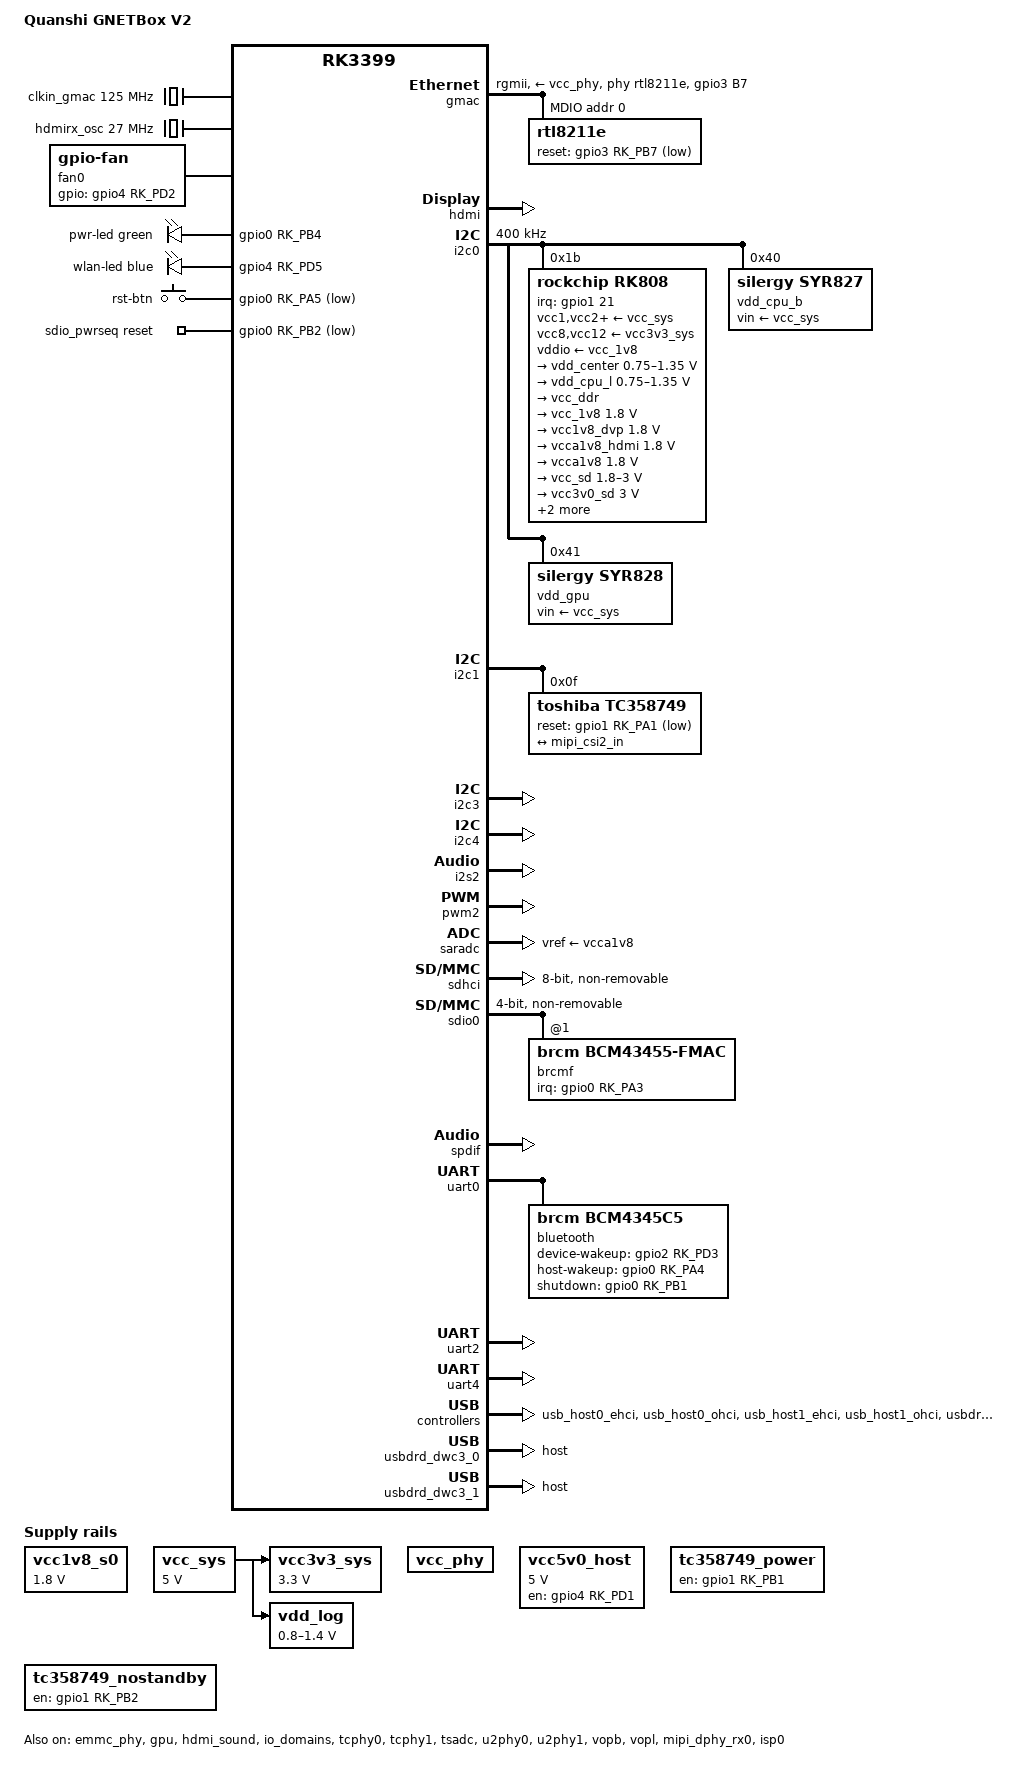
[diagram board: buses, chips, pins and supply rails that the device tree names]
// SPDX-License-Identifier: (GPL-2.0+ OR MIT)
/*
 * Copyright (c) 2017 Fuzhou Rockchip Electronics Co., Ltd.
 * Copyright (c) 2025 retro98boy <retro98boy@qq.com>
 */

/dts-v1/;

#include <dt-bindings/input/linux-event-codes.h>
#include <dt-bindings/pwm/pwm.h>
#include <dt-bindings/leds/common.h>
#include "rk3399.dtsi"

/ {
	model = "Quanshi GNETBox V2";
	compatible = "quanshi,gnetbox-v2", "rockchip,rk3399";

	aliases {
		ethernet0 = &gmac;
		mmc0 = &sdhci;
		mmc2 = &sdio0;
		rtc0 = &rk808;
	};

	chosen {
		stdout-path = "serial2:1500000n8";
	};

	clkin_gmac: external-gmac-clock {
		compatible = "fixed-clock";
		clock-frequency = <125000000>;
		clock-output-names = "clkin_gmac";
		#clock-cells = <0>;
	};

	hdmirx_osc: hdmirx-osc {
		compatible = "fixed-clock";
		clock-frequency = <27000000>;
		clock-output-names = "hdmirx-osc";
		#clock-cells = <0>;
	};

	fan0: gpio-fan {
		compatible = "gpio-fan";
		gpio-fan,speed-map = <0 0 3000 1>;
		gpios = <&gpio4 RK_PD2 GPIO_ACTIVE_HIGH>;
		#cooling-cells = <2>;
		pinctrl-names = "default";
		pinctrl-0 = <&gpio_fan_en>;
	};

	gpio-leds {
		compatible = "gpio-leds";
		pinctrl-names = "default";
		pinctrl-0 = <&pwr_led &wlan_led>;

		/*
		 * The power LED on the device is always on, defaulting to red.
		 * Pulling gpio0 RK_PB4 high changes it to green, indicating that the kernel has started.
		 */
		pwr-led {
			function = LED_FUNCTION_POWER;
			color = <LED_COLOR_ID_GREEN>;
			gpios = <&gpio0 RK_PB4 GPIO_ACTIVE_HIGH>;
			default-state = "on";
		};

		/*
		 * modprobe ledtrig-netdev
		 * echo netdev > /sys/class/leds/blue\:wlan/trigger
		 * echo wlan0 > /sys/class/leds/blue\:wlan/device_name
		 *
		 * echo 1 > /sys/class/leds/blue\:wlan/link
		 * or
		 * echo 1 > /sys/class/leds/blue\:wlan/rx
		 */
		wlan-led {
			function = LED_FUNCTION_WLAN;
			color = <LED_COLOR_ID_BLUE>;
			gpios = <&gpio4 RK_PD5 GPIO_ACTIVE_HIGH>;
			default-state = "netdev";
		};
	};

	gpio-keys {
		compatible = "gpio-keys";
		autorepeat;
		pinctrl-names = "default";
		pinctrl-0 = <&rst_btn>;

		rst-btn {
			debounce-interval = <100>;
			gpios = <&gpio0 RK_PA5 GPIO_ACTIVE_LOW>;
			label = "rst-btn";
			linux,code = <KEY_RESTART>;
		};
	};

	sdio_pwrseq: sdio-pwrseq {
		compatible = "mmc-pwrseq-simple";
		clocks = <&rk808 1>;
		clock-names = "ext_clock";
		pinctrl-names = "default";
		pinctrl-0 = <&wifi_enable_h>;
		reset-gpios = <&gpio0 RK_PB2 GPIO_ACTIVE_LOW>;
	};

	vcc1v8_s0: regulator-vcc1v8-s0 {
		compatible = "regulator-fixed";
		regulator-name = "vcc1v8_s0";
		regulator-always-on;
		regulator-boot-on;
		regulator-min-microvolt = <1800000>;
		regulator-max-microvolt = <1800000>;
	};

	vcc_sys: regulator-vcc-sys {
		compatible = "regulator-fixed";
		regulator-name = "vcc_sys";
		regulator-always-on;
		regulator-boot-on;
		regulator-min-microvolt = <5000000>;
		regulator-max-microvolt = <5000000>;
	};

	vcc_phy: regulator-vcc-phy {
		compatible = "regulator-fixed";
		regulator-name = "vcc_phy";
	};

	vcc3v3_sys: regulator-vcc3v3-sys {
		compatible = "regulator-fixed";
		regulator-name = "vcc3v3_sys";
		regulator-always-on;
		regulator-boot-on;
		regulator-min-microvolt = <3300000>;
		regulator-max-microvolt = <3300000>;
		vin-supply = <&vcc_sys>;
	};

	vcc5v0_host: regulator-vcc5v0-host {
		compatible = "regulator-fixed";
		enable-active-high;
		gpio = <&gpio4 RK_PD1 GPIO_ACTIVE_HIGH>;
		pinctrl-names = "default";
		pinctrl-0 = <&vcc5v0_host_en>;
		regulator-name = "vcc5v0_host";
		regulator-always-on;
		regulator-boot-on;
		regulator-min-microvolt = <5000000>;
		regulator-max-microvolt = <5000000>;
	};

	regulator-tc358749-power {
		compatible = "regulator-fixed";
		enable-active-high;
		gpio = <&gpio1 RK_PB1 GPIO_ACTIVE_HIGH>;
		pinctrl-names = "default";
		pinctrl-0 = <&tc358749_power_en>;
		regulator-name = "tc358749_power";
		regulator-always-on;
		regulator-boot-on;
	};

	regulator-tc358749-nostandby {
		compatible = "regulator-fixed";
		enable-active-high;
		gpio = <&gpio1 RK_PB2 GPIO_ACTIVE_HIGH>;
		pinctrl-names = "default";
		pinctrl-0 = <&tc358749_nostandby_en>;
		regulator-name = "tc358749_nostandby";
		regulator-always-on;
		regulator-boot-on;
	};

	vdd_log: regulator-vdd-log {
		compatible = "pwm-regulator";
		pwms = <&pwm2 0 25000 1>;
		pwm-supply = <&vcc_sys>;
		regulator-name = "vdd_log";
		regulator-always-on;
		regulator-boot-on;
		regulator-min-microvolt = <800000>;
		regulator-max-microvolt = <1400000>;
	};
};

&cpu_l0 {
	cpu-supply = <&vdd_cpu_l>;
};

&cpu_l1 {
	cpu-supply = <&vdd_cpu_l>;
};

&cpu_l2 {
	cpu-supply = <&vdd_cpu_l>;
};

&cpu_l3 {
	cpu-supply = <&vdd_cpu_l>;
};

&cpu_b0 {
	cpu-supply = <&vdd_cpu_b>;
};

&cpu_b1 {
	cpu-supply = <&vdd_cpu_b>;
};

&cpu_thermal {
	trips {
		cpu_hot: cpu_hot {
			temperature = <55000>;
			hysteresis = <5000>;
			type = "active";
		};
	};

	cooling-maps {
		map2 {
			trip = <&cpu_hot>;
			cooling-device = <&fan0 THERMAL_NO_LIMIT THERMAL_NO_LIMIT>;
		};
	};
};

&emmc_phy {
	status = "okay";
};

&gmac {
	assigned-clock-parents = <&clkin_gmac>;
	assigned-clocks = <&cru SCLK_RMII_SRC>;
	clock_in_out = "input";
	pinctrl-names = "default";
	pinctrl-0 = <&rgmii_pins>, <&phy_rst_l>;
	phy-handle = <&rtl8211e>;
	phy-mode = "rgmii";
	phy-supply = <&vcc_phy>;
	tx_delay = <0x28>;
	rx_delay = <0x11>;
	status = "okay";

	mdio {
		compatible = "snps,dwmac-mdio";
		#address-cells = <1>;
		#size-cells = <0>;

		rtl8211e: rtl8211e@0 {
			reg = <0>;
			reset-assert-us = <10000>;
			reset-deassert-us = <30000>;
			reset-gpios = <&gpio3 RK_PB7 GPIO_ACTIVE_LOW>;
		};
	};
};

&gpu {
	mali-supply = <&vdd_gpu>;
	status = "okay";
};

&hdmi {
	avdd-0v9-supply = <&vcca0v9_hdmi>;
	avdd-1v8-supply = <&vcca1v8_hdmi>;
	ddc-i2c-bus = <&i2c3>;
	pinctrl-names = "default";
	pinctrl-0 = <&hdmi_cec>;
	status = "okay";
};

&hdmi_sound {
	status = "okay";
};

&i2c0 {
	clock-frequency = <400000>;
	i2c-scl-rising-time-ns = <168>;
	i2c-scl-falling-time-ns = <4>;
	status = "okay";

	rk808: pmic@1b {
		compatible = "rockchip,rk808";
		reg = <0x1b>;
		interrupt-parent = <&gpio1>;
		interrupts = <21 IRQ_TYPE_LEVEL_LOW>;
		#clock-cells = <1>;
		clock-output-names = "xin32k", "rk808-clkout2";
		pinctrl-names = "default";
		pinctrl-0 = <&pmic_int_l>;
		system-power-controller;
		wakeup-source;

		vcc1-supply = <&vcc_sys>;
		vcc2-supply = <&vcc_sys>;
		vcc3-supply = <&vcc_sys>;
		vcc4-supply = <&vcc_sys>;
		vcc6-supply = <&vcc_sys>;
		vcc7-supply = <&vcc_sys>;
		vcc8-supply = <&vcc3v3_sys>;
		vcc9-supply = <&vcc_sys>;
		vcc10-supply = <&vcc_sys>;
		vcc11-supply = <&vcc_sys>;
		vcc12-supply = <&vcc3v3_sys>;
		vddio-supply = <&vcc_1v8>;

		regulators {
			vdd_center: DCDC_REG1 {
				regulator-name = "vdd_center";
				regulator-always-on;
				regulator-boot-on;
				regulator-min-microvolt = <750000>;
				regulator-max-microvolt = <1350000>;
				regulator-ramp-delay = <6001>;
				regulator-state-mem {
					regulator-off-in-suspend;
				};
			};

			vdd_cpu_l: DCDC_REG2 {
				regulator-name = "vdd_cpu_l";
				regulator-always-on;
				regulator-boot-on;
				regulator-min-microvolt = <750000>;
				regulator-max-microvolt = <1350000>;
				regulator-ramp-delay = <6001>;
				regulator-state-mem {
					regulator-off-in-suspend;
				};
			};

			vcc_ddr: DCDC_REG3 {
				regulator-name = "vcc_ddr";
				regulator-always-on;
				regulator-boot-on;
				regulator-state-mem {
					regulator-on-in-suspend;
				};
			};

			vcc_1v8: DCDC_REG4 {
				regulator-name = "vcc_1v8";
				regulator-always-on;
				regulator-boot-on;
				regulator-min-microvolt = <1800000>;
				regulator-max-microvolt = <1800000>;
				regulator-state-mem {
					regulator-on-in-suspend;
					regulator-suspend-microvolt = <1800000>;
				};
			};

			vcc1v8_dvp: LDO_REG1 {
				regulator-name = "vcc1v8_dvp";
				regulator-always-on;
				regulator-boot-on;
				regulator-min-microvolt = <1800000>;
				regulator-max-microvolt = <1800000>;
				regulator-state-mem {
					regulator-off-in-suspend;
				};
			};

			vcca1v8_hdmi: LDO_REG2 {
				regulator-name = "vcca1v8_hdmi";
				regulator-min-microvolt = <1800000>;
				regulator-max-microvolt = <1800000>;
				regulator-state-mem {
					regulator-off-in-suspend;
				};
			};

			vcca1v8: LDO_REG3 {
				regulator-name = "vcca1v8";
				regulator-always-on;
				regulator-boot-on;
				regulator-min-microvolt = <1800000>;
				regulator-max-microvolt = <1800000>;
				regulator-state-mem {
					regulator-on-in-suspend;
					regulator-suspend-microvolt = <1800000>;
				};
			};

			vcc_sd: LDO_REG4 {
				regulator-name = "vcc_sd";
				regulator-always-on;
				regulator-boot-on;
				regulator-min-microvolt = <1800000>;
				regulator-max-microvolt = <3000000>;
				regulator-state-mem {
					regulator-off-in-suspend;
				};
			};

			vcc3v0_sd: LDO_REG5 {
				regulator-name = "vcc3v0_sd";
				regulator-always-on;
				regulator-boot-on;
				regulator-min-microvolt = <3000000>;
				regulator-max-microvolt = <3000000>;
				regulator-state-mem {
					regulator-off-in-suspend;
				};
			};

			vcc_1v5: LDO_REG6 {
				regulator-name = "vcc_1v5";
				regulator-always-on;
				regulator-boot-on;
				regulator-min-microvolt = <1500000>;
				regulator-max-microvolt = <1500000>;
				regulator-state-mem {
					regulator-off-in-suspend;
				};
			};

			vcca0v9_hdmi: LDO_REG7 {
				regulator-name = "vcca0v9_hdmi";
				regulator-always-on;
				regulator-boot-on;
				regulator-min-microvolt = <900000>;
				regulator-max-microvolt = <900000>;
				regulator-state-mem {
					regulator-off-in-suspend;
				};
			};

			vcc_3v0: LDO_REG8 {
				regulator-name = "vcc_3v0";
				regulator-always-on;
				regulator-boot-on;
				regulator-min-microvolt = <3000000>;
				regulator-max-microvolt = <3000000>;
				regulator-state-mem {
					regulator-off-in-suspend;
				};
			};

			vcc3v3_s3: SWITCH_REG1 {
				regulator-name = "vcc3v3_s3";
				regulator-always-on;
				regulator-boot-on;
				regulator-state-mem {
					regulator-on-in-suspend;
				};
			};

			vcc3v3_s0: SWITCH_REG2 {
				regulator-name = "vcc3v3_s0";
				regulator-state-mem {
					regulator-off-in-suspend;
				};
			};
		};
	};

	vdd_cpu_b: regulator@40 {
		compatible = "silergy,syr827";
		reg = <0x40>;
		fcs,suspend-voltage-selector = <1>;
		pinctrl-names = "default";
		pinctrl-0 = <&vsel1_pin>;
		regulator-name = "vdd_cpu_b";
		regulator-min-microvolt = <712500>;
		regulator-max-microvolt = <1500000>;
		regulator-ramp-delay = <1000>;
		regulator-always-on;
		regulator-boot-on;
		vin-supply = <&vcc_sys>;

		regulator-state-mem {
			regulator-off-in-suspend;
		};
	};

	vdd_gpu: regulator@41 {
		compatible = "silergy,syr828";
		reg = <0x41>;
		fcs,suspend-voltage-selector = <1>;
		pinctrl-names = "default";
		pinctrl-0 = <&vsel2_pin>;
		regulator-name = "vdd_gpu";
		regulator-min-microvolt = <712500>;
		regulator-max-microvolt = <1500000>;
		regulator-ramp-delay = <1000>;
		regulator-always-on;
		regulator-boot-on;
		vin-supply = <&vcc_sys>;

		regulator-state-mem {
			regulator-off-in-suspend;
		};
	};
};

&i2c1 {
	status = "okay";

	tc358749: tc358749@f {
		compatible = "toshiba,tc358749";
		reg = <0x0f>;
		pinctrl-names = "default";
		pinctrl-0 = <&tc358749_rst>;
		clocks = <&hdmirx_osc>;
		clock-names = "refclk";
		reset-gpios = <&gpio1 RK_PA1 GPIO_ACTIVE_LOW>;

		/* we're using forward ported BSP driver, thus: */
		rockchip,camera-module-index = <0x00>;
		rockchip,camera-module-facing = "front";
		rockchip,camera-module-name = "CameraKing";
		rockchip,camera-module-lens-name = "Largan-9569A2";

		orientation = <0>;
		rotation = <90>;

		port {
			tc358749_out: endpoint {
				remote-endpoint = <&mipi_csi2_in>;
				data-lanes = <1 2 3 4>;
				clock-lanes = <0>;
				clock-noncontinuous;
				link-frequencies = /bits/ 64 <297000000>;
			};
		};
	};
};

&i2c3 {
	status = "okay";
};

&i2c4 {
	status = "okay";
};

&i2s2 {
	status = "okay";
};

&io_domains {
	bt656-supply = <&vcc1v8_s0>;
	audio-supply = <&vcc1v8_s0>;
	sdmmc-supply = <&vcc_sd>;
	gpio1830-supply = <&vcc_3v0>;
	status = "okay";
};

&pinctrl {
	bt {
		bt_enable_h: bt-enable-h {
			rockchip,pins = <0 RK_PB1 RK_FUNC_GPIO &pcfg_pull_none>;
		};

		bt_host_wake_l: bt-host-wake-l {
			rockchip,pins = <0 RK_PA4 RK_FUNC_GPIO &pcfg_pull_none>;
		};

		bt_wake_l: bt-wake-l {
			rockchip,pins = <2 RK_PD3 RK_FUNC_GPIO &pcfg_pull_none>;
		};
	};

	buttons {
		rst_btn: rst-btn {
			rockchip,pins = <0 RK_PA5 RK_FUNC_GPIO &pcfg_pull_up>;
		};
	};

	display {
		tc358749_power_en: tc358749-power-en {
			rockchip,pins = <1 RK_PB1 RK_FUNC_GPIO &pcfg_pull_none>;
		};

		tc358749_nostandby_en: tc358749-nostandby-en {
			rockchip,pins = <1 RK_PB2 RK_FUNC_GPIO &pcfg_pull_none>;
		};

		tc358749_rst: tc358749-rst {
			rockchip,pins = <1 RK_PA1 RK_FUNC_GPIO &pcfg_pull_up>;
		};
	};

	fan {
		gpio_fan_en: gpio-fan-en {
			rockchip,pins = <4 RK_PD2 RK_FUNC_GPIO &pcfg_pull_down>;
		};
	};

	gmac {
		phy_rst_l: phy-rst-l {
			rockchip,pins = <3 RK_PB7 RK_FUNC_GPIO &pcfg_pull_none>;
		};
	};

	leds {
		pwr_led: pwr-led {
			rockchip,pins = <0 RK_PB4 RK_FUNC_GPIO &pcfg_pull_none>;
		};

		wlan_led: wlan-led {
			rockchip,pins = <4 RK_PD5 RK_FUNC_GPIO &pcfg_pull_none>;
		};
	};

	pmic {
		pmic_int_l: pmic-int-l {
			rockchip,pins = <1 RK_PC5 RK_FUNC_GPIO &pcfg_pull_up>;
		};

		vsel1_pin: vsel1-pin {
			rockchip,pins = <1 RK_PC1 RK_FUNC_GPIO &pcfg_pull_down>;
		};

		vsel2_pin: vsel2-pin {
			rockchip,pins = <1 RK_PB6 RK_FUNC_GPIO &pcfg_pull_down>;
		};
	};

	usb {
		vcc5v0_host_en: vcc5v0-hots-en {
			rockchip,pins = <4 RK_PD1 RK_FUNC_GPIO &pcfg_pull_none>;
		};
	};

	wifi {
		wifi_enable_h: wifi-enable-h {
			rockchip,pins = <0 RK_PB2 RK_FUNC_GPIO &pcfg_pull_none>;
		};

		wifi_host_wake_l: wifi-host-wake-l {
			rockchip,pins = <0 RK_PA3 RK_FUNC_GPIO &pcfg_pull_none>;
		};
	};
};

&pmu_io_domains {
	pmu1830-supply = <&vcc_1v8>;
	status = "okay";
};

&pwm2 {
	status = "okay";
};

&saradc {
	vref-supply = <&vcca1v8>;
	status = "okay";
};

&sdhci {
	max-frequency = <200000000>;
	bus-width = <8>;
	mmc-hs400-1_8v;
	mmc-hs400-enhanced-strobe;
	non-removable;
	status = "okay";
};

&sdio0 {
	bus-width = <4>;
	clock-frequency = <50000000>;
	cap-sdio-irq;
	cap-sd-highspeed;
	keep-power-in-suspend;
	mmc-pwrseq = <&sdio_pwrseq>;
	non-removable;
	pinctrl-names = "default";
	pinctrl-0 = <&sdio0_bus4 &sdio0_cmd &sdio0_clk>;
	#address-cells = <1>;
	#size-cells = <0>;
	status = "okay";

	brcmf: wifi@1 {
		compatible = "brcm,bcm43455-fmac";
		reg = <1>;
		interrupt-parent = <&gpio0>;
		interrupts = <RK_PA3 IRQ_TYPE_LEVEL_HIGH>;
		interrupt-names = "host-wake";
		pinctrl-names = "default";
		pinctrl-0 = <&wifi_host_wake_l>;
	};
};

&spdif {
	status = "okay";
};

&tcphy0 {
	status = "okay";
};

&tcphy1 {
	status = "okay";
};

&tsadc {
	/* tshut mode 0:CRU 1:GPIO */
	rockchip,hw-tshut-mode = <1>;
	/* tshut polarity 0:LOW 1:HIGH */
	rockchip,hw-tshut-polarity = <1>;
	status = "okay";
};

&u2phy0 {
	status = "okay";

	u2phy0_otg: otg-port {
		status = "okay";
	};

	u2phy0_host: host-port {
		phy-supply = <&vcc5v0_host>;
		status = "okay";
	};
};

&u2phy1 {
	status = "okay";

	u2phy1_otg: otg-port {
		status = "okay";
	};

	u2phy1_host: host-port {
		phy-supply = <&vcc5v0_host>;
		status = "okay";
	};
};

&uart0 {
	pinctrl-names = "default";
	pinctrl-0 = <&uart0_xfer &uart0_cts &uart0_rts>;
	status = "okay";

	bluetooth {
		compatible = "brcm,bcm4345c5";
		clocks = <&rk808 1>;
		clock-names = "lpo";
		device-wakeup-gpios = <&gpio2 RK_PD3 GPIO_ACTIVE_HIGH>;
		host-wakeup-gpios = <&gpio0 RK_PA4 GPIO_ACTIVE_HIGH>;
		shutdown-gpios = <&gpio0 RK_PB1 GPIO_ACTIVE_HIGH>;
		pinctrl-names = "default";
		pinctrl-0 = <&bt_host_wake_l &bt_wake_l &bt_enable_h>;
	};
};

&uart2 {
	status = "okay";
};

&uart4 {
	status = "okay";
};

&usb_host0_ehci {
	status = "okay";
};

&usb_host0_ohci {
	status = "okay";
};

&usb_host1_ehci {
	status = "okay";
};

&usb_host1_ohci {
	status = "okay";
};

&usbdrd3_0 {
	status = "okay";
};

&usbdrd_dwc3_0 {
	dr_mode = "host";
	status = "okay";
};

&usbdrd3_1 {
	status = "okay";
};

&usbdrd_dwc3_1 {
	dr_mode = "host";
	status = "okay";
};

&vopb {
	status = "okay";
};

&vopb_mmu {
	status = "okay";
};

&vopl {
	status = "okay";
};

&vopl_mmu {
	status = "okay";
};

&vopl_out_dp {
	status = "disabled";
};

&dp_in_vopl {
	status = "disabled";
};

&vopb_out_hdmi {
	status = "disabled";
};

&hdmi_in_vopb {
	status = "disabled";
};

&mipi_dphy_rx0 {
	status = "okay";
};

&isp0 {
	status = "okay";

	ports {
		port@0 {
			mipi_csi2_in: endpoint {
				remote-endpoint = <&tc358749_out>;
				data-lanes = <1 2 3 4>;
				clock-lanes = <0>;
				clock-noncontinuous;
				link-frequencies = /bits/ 64 <297000000>;
			};
		};
	};
};

&isp0_mmu {
	status = "okay";
};
